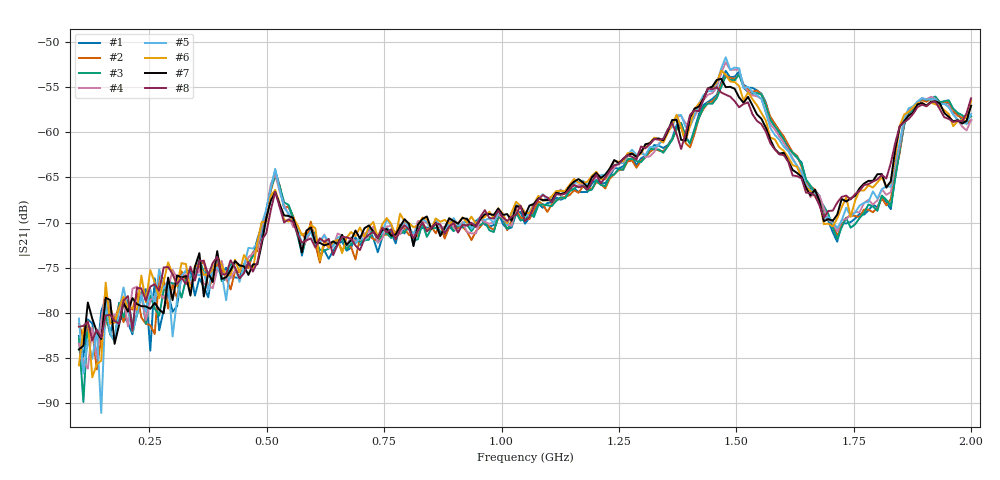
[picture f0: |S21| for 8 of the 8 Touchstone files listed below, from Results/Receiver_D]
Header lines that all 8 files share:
!Keysight Technologies,N5242B,MY48420967,A.15.65.19
!Correction: S11(C  1-Port  )
!S21(Off)
!S12(Off)
!S22(Off)
!S2P File: Measurements: S11, S21, S12, S22:
# Hz S  dB  R 50
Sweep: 100 MHz to 2 GHz
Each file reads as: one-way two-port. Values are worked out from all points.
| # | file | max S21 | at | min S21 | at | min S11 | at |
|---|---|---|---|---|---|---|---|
| 1 | S-ParamMeas20k_Receiver_D.s2p | -53.22 dB | 1.478 GHz | -85.1 dB | 138 MHz | -3.7 dB | 2 GHz |
| 2 | S-ParamMeas25k_Receiver_D.s2p | -53.63 dB | 1.506 GHz | -86.3 dB | 138 MHz | -3.7 dB | 2 GHz |
| 3 | S-ParamMeas30k_Receiver_D.s2p | -53.62 dB | 1.506 GHz | -89.8 dB | 109.5 MHz | -3.7 dB | 2 GHz |
| 4 | S-ParamMeas77k_Receiver_D.s2p | -52.25 dB | 1.478 GHz | -86.2 dB | 119 MHz | -3.9 dB | 2 GHz |
| 5 | S-ParamMeas100k_Receiver_D.s2p | -51.71 dB | 1.478 GHz | -91.1 dB | 147.5 MHz | -4.0 dB | 2 GHz |
| 6 | S-ParamMeas200k_Receiver_D.s2p | -53.18 dB | 1.468 GHz | -87.1 dB | 128.5 MHz | -4.5 dB | 1.924 GHz |
| 7 | S-ParamMeas250k_Receiver_D.s2p | -54.10 dB | 1.468 GHz | -84.0 dB | 100 MHz | -4.8 dB | 1.915 GHz |
| 8 | S-ParamMeas290k_Receiver_D.s2p | -55.02 dB | 1.458 GHz | -83.0 dB | 128.5 MHz | -5.1 dB | 1.915 GHz |
